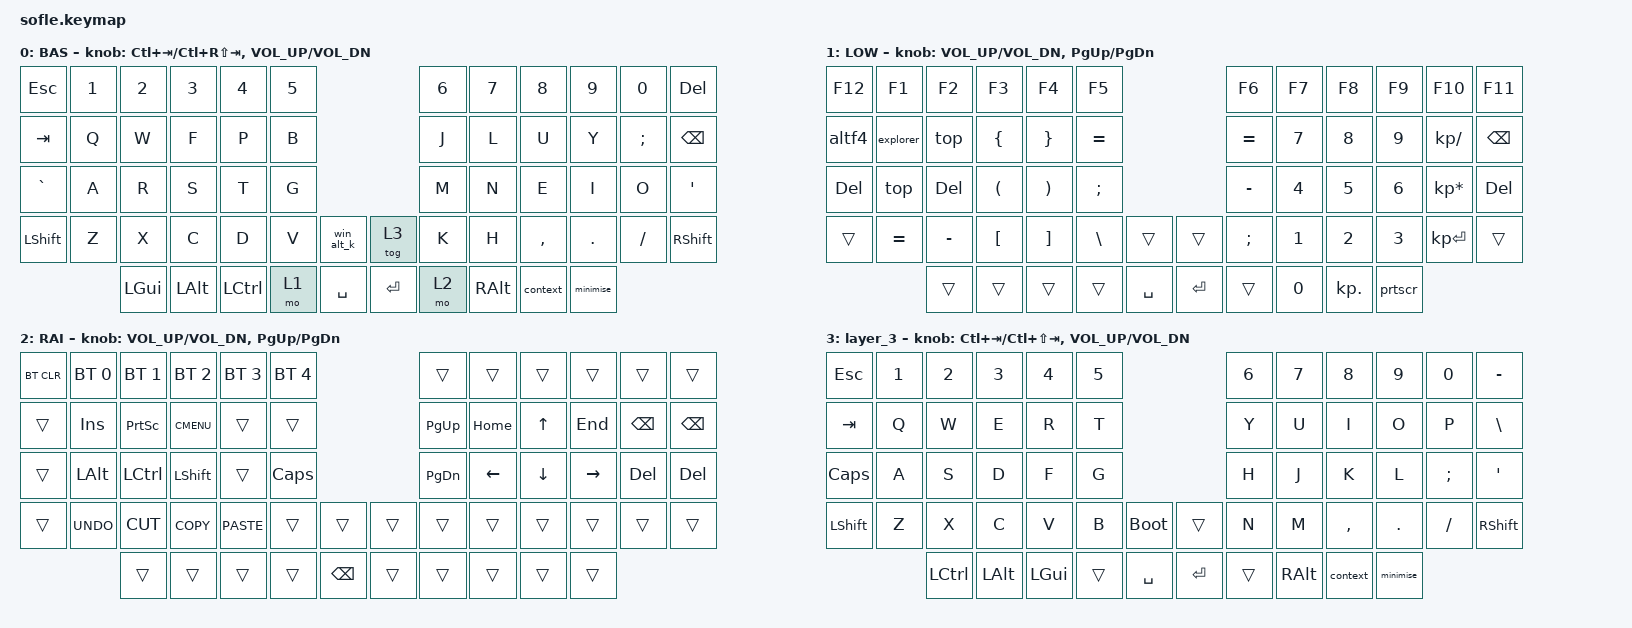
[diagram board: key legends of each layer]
/*
 * Copyright (c) 2020 The ZMK Contributors
 *
 * SPDX-License-Identifier: MIT
 */

#include <behaviors.dtsi>
#include <dt-bindings/zmk/bt.h>
#include <dt-bindings/zmk/keys.h>

/ {
    macros {
        altf4: altf4 {
            compatible = "zmk,behavior-macro";
            #binding-cells = <0>;
            bindings = <&kp LA(F4)>;
            label = "ALTF4";
        };

        context: context {
            compatible = "zmk,behavior-macro";
            #binding-cells = <0>;
            bindings = <&kp LS(F10)>;
            label = "CONTEXT";
        };

        minimise: minimise {
            compatible = "zmk,behavior-macro";
            #binding-cells = <0>;
            bindings = <&kp LA(SPACE)>, <&macro_tap>, <&kp N>;

            label = "MINIMISE";
        };

        word_right: new_macro {
            compatible = "zmk,behavior-macro";
            #binding-cells = <0>;
            bindings = <&kp LC(RIGHT)>;
            label = "NEW_MACRO";
        };

        word_left: word_left {
            compatible = "zmk,behavior-macro";
            #binding-cells = <0>;
            bindings = <&kp LC(LEFT)>;
            label = "WORD_LEFT";
        };

        tab_right: tab_right {
            compatible = "zmk,behavior-macro";
            #binding-cells = <0>;
            bindings = <&kp LC(TAB)>;
            label = "TAB_RIGHT";
        };

        tab_left: tab_left {
            compatible = "zmk,behavior-macro";
            #binding-cells = <0>;
            bindings = <&kp LC(LS(TAB))>;
            label = "TAB_LEFT";
        };

        ctrl_up: ctrl_up {
            compatible = "zmk,behavior-macro";
            #binding-cells = <0>;
            bindings = <&kp LC(UP_ARROW)>;
            label = "CTRL_UP";
        };

        ctrl_dn: ctrl_dn {
            compatible = "zmk,behavior-macro";
            #binding-cells = <0>;
            bindings = <&kp LC(DOWN)>;
            label = "CTRL_DN";
        };

        prtscr: prtscr {
            compatible = "zmk,behavior-macro";
            #binding-cells = <0>;
            bindings = <&kp LA(LS(EQUAL))>;
            label = "PRTSCR";
        };

        win_alt_k: win_alt_k {
            compatible = "zmk,behavior-macro";
            #binding-cells = <0>;
            bindings = <&kp LG(LA(K))>;
            label = "WIN_ALT_K";
        };

        explorer: explorer {
            compatible = "zmk,behavior-macro";
            #binding-cells = <0>;
            bindings = <&kp LG(E)>;
            label = "EXPLORER";
        };

        to_top: to_top {
            compatible = "zmk,behavior-macro";
            #binding-cells = <0>;
            bindings = <&kp LA(LC(T))>;
            label = "TO_TOP";
        };

        top: top {
            compatible = "zmk,behavior-macro";
            #binding-cells = <0>;
            bindings = <&kp LG(LC(T))>;
            label = "TOP";
        };
    };

    keymap {
        compatible = "zmk,keymap";

        default_layer {
            display-name = "BAS";

            // ------------------------------------------------------------------------------------------------------------
            // |  `    |  1  |  2  |  3   |  4   |  5   |                   |  6   |  7    |  8    |  9   |   0   |       |
            // |  ESC  |  Q  |  W  |  E   |  R   |  T   |                   |  Y   |  U    |  I    |  O   |   P   | BKSPC |
            // |  TAB  |  A  |  S  |  D   |  F   |  G   |                   |  H   |  J    |  K    |  L   |   ;   |   '   |
            // | SHIFT |  Z  |  X  |  C   |  V   |  B   |  MUTE  |  |       |  N   |  M    |  ,    |  .   |   /   | SHIFT |
            //               | GUI | ALT  | CTRL | LOWER|  ENTER |  | SPACE | RAISE| CTRL  | ALT   | GUI  |

            bindings = <
&kp ESC    &kp N1  &kp N2    &kp N3    &kp N4     &kp N5                           &kp N6  &kp N7         &kp N8     &kp N9     &kp N0         &kp DEL
&kp TAB    &kp Q   &kp W     &kp F     &kp P      &kp B                            &kp J   &kp L          &kp U      &kp Y      &kp SEMICOLON  &kp BSPC
&kp GRAVE  &kp A   &kp R     &kp S     &kp T      &kp G                            &kp M   &kp N          &kp E      &kp I      &kp O          &kp SQT
&kp LSHFT  &kp Z   &kp X     &kp C     &kp D      &kp V   &win_alt_k    &tog 3     &kp K   &kp H          &kp COMMA  &kp DOT    &kp FSLH       &kp RSHFT
                   &kp LGUI  &kp LALT  &kp LCTRL  &mo 1   &kp SPACE     &kp ENTER  &mo 2   &kp RIGHT_ALT  &context   &minimise
            >;

            sensor-bindings =
                <&inc_dec_kp LC(TAB) LC(RS(TAB))>,
                <&inc_dec_kp C_VOLUME_UP C_VOL_DN>;
        };

        lower_layer {
            display-name = "LOW";

            // ------------------------------------------------------------------------------------------------------------
            // | `     |  F1 |  F2 |  F3  |  F4  |  F5  |                   |  F6  |  F7   |  F8   |  F9  |  F10  |  F11  |
            // | RAISE |   1 |   2 |   3  |   4  |   5  |                   |   6  |   7   |   8   |   9  |    0  |  F12  |
            // |       |  !  |  @  |  #   |  $   |  %   |                   |  ^   |  &    |  *    |  (   |   )   |   |   |
            // |       |  =  |  -  |  +   |  {   |  }   |        |  |       |  [   |  ]    |  ;    |  :   |   \   |       |
            //               |     |      |      |      |        |  |       |      |       |       |      |

            bindings = <
&kp F12     &kp F1     &kp F2     &kp F3                &kp F4                 &kp F5                                 &kp F6         &kp F7        &kp F8        &kp F9        &kp F10          &kp F11
&altf4      &explorer  &top       &kp LBRC              &kp RBRC               &kp EQUAL                              &kp EQUAL      &kp N7        &kp N8        &kp N9        &kp KP_DIVIDE    &kp BSPC
&kp DELETE  &top       &kp DEL    &kp LEFT_PARENTHESIS  &kp RIGHT_PARENTHESIS  &kp SEMICOLON                          &kp MINUS      &kp NUMBER_4  &kp N5        &kp NUMBER_6  &kp KP_ASTERISK  &kp DELETE
&trans      &kp EQUAL  &kp MINUS  &kp LEFT_BRACKET      &kp RIGHT_BRACKET      &kp BACKSLASH  &trans       &trans     &kp SEMICOLON  &kp NUMBER_1  &kp NUMBER_2  &kp NUMBER_3  &kp KP_ENTER     &trans
                       &trans     &trans                &trans                 &trans         &kp SPACE    &kp ENTER  &trans         &kp N0        &kp KP_DOT    &prtscr
            >;

            sensor-bindings = <&inc_dec_kp C_VOL_UP C_VOL_DN &inc_dec_kp PG_UP PG_DN>;
        };

        raise_layer {
            display-name = "RAI";

            // ------------------------------------------------------------------------------------------------------------
            // |BTCLR| BT1  | BT2  |  BT3  |  BT4  |  BT5 |                |      |      |       |      |       |       |
            // |     | INS  | PSCR | GUI   |       |      |                | PGUP |      |       |      |       |       |
            // |     | ALT  | CTRL | SHIFT |       | CAPS |                |  <-  |   v  |   ^   |  ->  |  DEL  | BKSPC |
            // |     | UNDO | CUT  | COPY  | PASTE |      |      |  |      |      |      |       |      |       |       |
            //              |      |       |       |      |      |  |      |      |      |       |      |

            bindings = <
&bt BT_CLR  &bt BT_SEL 0  &bt BT_SEL 1  &bt BT_SEL 2  &bt BT_SEL 3  &bt BT_SEL 4                           &trans     &trans    &trans    &trans     &trans         &trans
&trans      &kp INS       &kp PSCRN     &kp K_CMENU   &trans        &trans                                 &kp PG_UP  &kp HOME  &kp UP    &kp END    &kp BACKSPACE  &kp BACKSPACE
&trans      &kp LALT      &kp LCTRL     &kp LSHFT     &trans        &kp CLCK                               &kp PG_DN  &kp LEFT  &kp DOWN  &kp RIGHT  &kp DEL        &kp DEL
&trans      &kp K_UNDO    &kp K_CUT     &kp K_COPY    &kp K_PASTE   &trans        &trans           &trans  &trans     &trans    &trans    &trans     &trans         &trans
                          &trans        &trans        &trans        &trans        &kp BACKSPACE    &trans  &trans     &trans    &trans    &trans
            >;

            sensor-bindings = <&inc_dec_kp C_VOL_UP C_VOL_DN &inc_dec_kp PG_UP PG_DN>;
        };

        layer_3 {
            bindings = <
&kp ESC    &kp N1  &kp N2     &kp N3    &kp N4    &kp N5                            &kp N6  &kp N7    &kp N8     &kp N9     &kp N0    &kp MINUS
&kp TAB    &kp Q   &kp W      &kp E     &kp R     &kp T                             &kp Y   &kp U     &kp I      &kp O      &kp P     &kp BSLH
&kp CAPS   &kp A   &kp S      &kp D     &kp F     &kp G                             &kp H   &kp J     &kp K      &kp L      &kp SEMI  &kp SQT
&kp LSHFT  &kp Z   &kp X      &kp C     &kp V     &kp B   &bootloader    &trans     &kp N   &kp M     &kp COMMA  &kp DOT    &kp FSLH  &kp RSHFT
                   &kp LCTRL  &kp LALT  &kp LGUI  &trans  &kp SPACE      &kp ENTER  &trans  &kp RALT  &context   &minimise
            >;

            sensor-bindings =
                <&inc_dec_kp LC(TAB) LC(LS(TAB))>,
                <&inc_dec_kp C_VOLUME_UP C_VOL_DN>;
        };
    };
};
